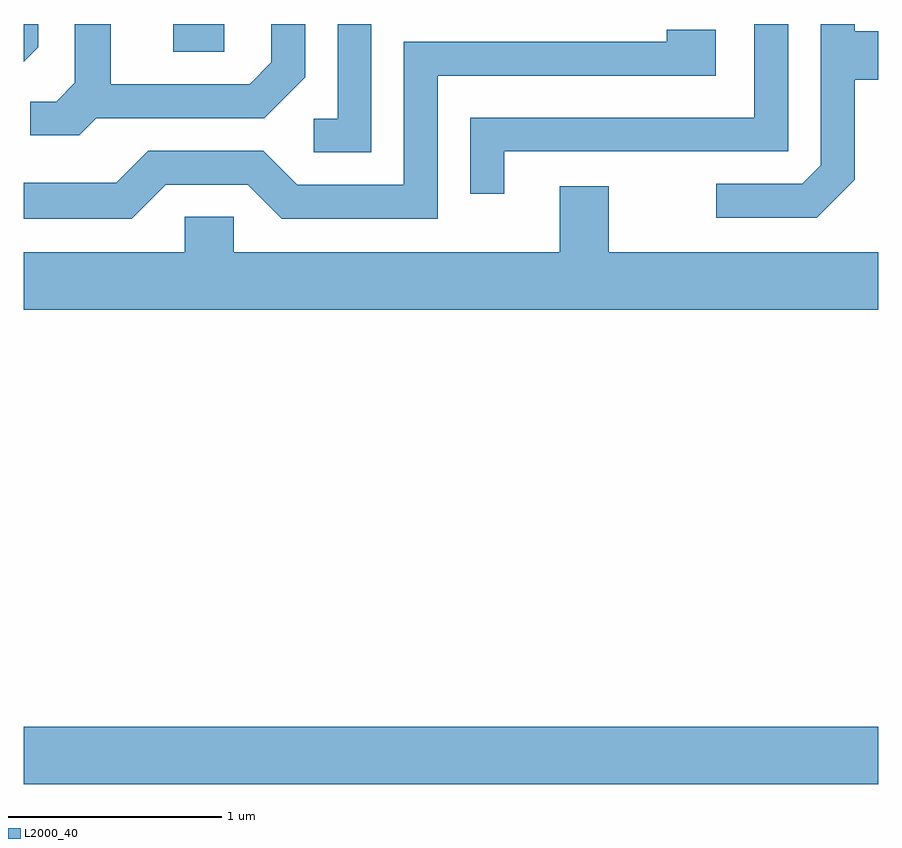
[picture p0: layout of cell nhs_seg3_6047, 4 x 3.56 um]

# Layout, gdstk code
import gdstk
lib = gdstk.Library(unit=1e-6, precision=1e-09)
def R(c, l, rs):  # rectangles x0, y0, x1, y1
    for r in rs: c.add(gdstk.rectangle(r[:2], r[2:], *l))
def P(c, l, *ps):  # polygons
    for p in ps: c.add(gdstk.Polygon(p, *l))
L2000_40 = (2000, 40)

nhs_seg3_6047 = lib.new_cell('nhs_seg3_6047')
R(nhs_seg3_6047, L2000_40, [(361.611,1250.336,365.611,1250.604), (362.311,1253.761,362.549,1253.892)])
P(nhs_seg3_6047, L2000_40, [(363.239,1253.892),(363.081,1253.892),(363.081,1253.449),(362.968,1253.449),(362.968,1253.291),(363.239,1253.291)],
  [(363.859,1253.296),(365.189,1253.296),(365.189,1253.892),(365.031,1253.892),(365.031,1253.454),(363.701,1253.454),(363.701,1253.098),(363.859,1253.098)],
  [(361.679,1253.784),(361.679,1253.892),(361.611,1253.892),(361.611,1253.716)],
  [(361.952,1253.451),(362.737,1253.451),(362.929,1253.644),(362.929,1253.892),(362.771,1253.892),(362.771,1253.712),(362.669,1253.609),(362.019,1253.609),(362.019,1253.892),(361.851,1253.892),(361.851,1253.617),(361.764,1253.529),(361.643,1253.529),(361.643,1253.371),(361.872,1253.371)],
  [(365.499,1253.164),(365.499,1253.631),(365.611,1253.631),(365.611,1253.859),(365.499,1253.859),(365.499,1253.892),(365.341,1253.892),(365.341,1253.232),(365.254,1253.144),(364.853,1253.144),(364.853,1252.986),(365.322,1252.986)],
  [(362.277,1253.141),(362.659,1253.141),(362.819,1252.981),(363.549,1252.981),(363.549,1253.651),(364.849,1253.651),(364.849,1253.864),(364.621,1253.864),(364.621,1253.809),(363.391,1253.809),(363.391,1253.139),(362.892,1253.139),(362.732,1253.299),(362.194,1253.299),(362.044,1253.149),(361.611,1253.149),(361.611,1252.981),(362.117,1252.981)],
  [(365.611,1252.824),(364.349,1252.824),(364.349,1253.134),(364.121,1253.134),(364.121,1252.824),(362.594,1252.824),(362.594,1252.989),(362.366,1252.989),(362.366,1252.824),(361.611,1252.824),(361.611,1252.556),(365.611,1252.556)])

lib.write_gds('nhs_seg3_6047.gds')
